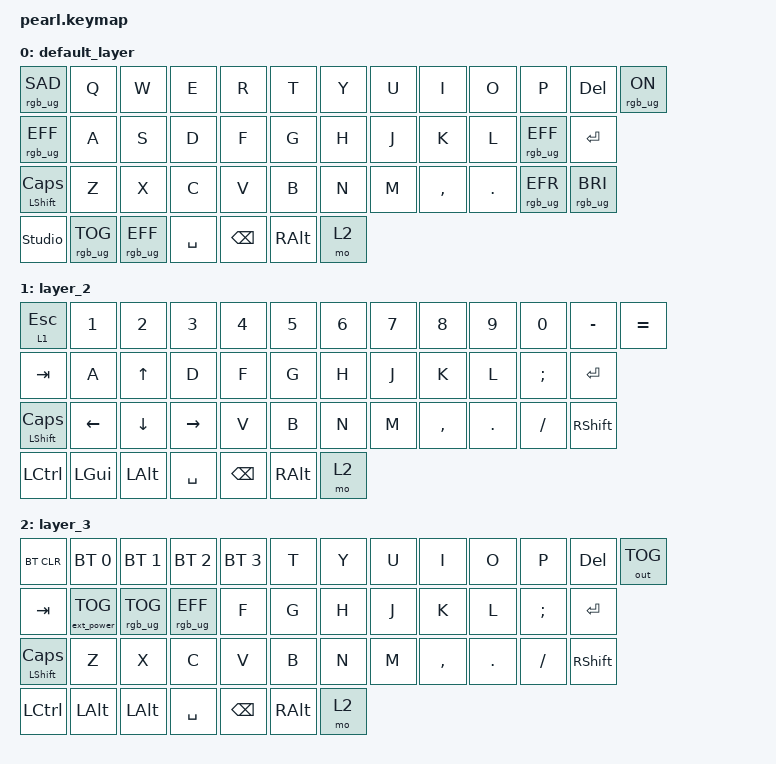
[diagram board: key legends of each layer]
/*
 * Copyright (c) 2020 The ZMK Contributors
 *
 * SPDX-License-Identifier: MIT
 */

#include <behaviors.dtsi>
#include <dt-bindings/zmk/bt.h>
#include <dt-bindings/zmk/ext_power.h>
#include <dt-bindings/zmk/keys.h>
#include <dt-bindings/zmk/outputs.h>
#include <dt-bindings/zmk/rgb.h>

/ {
    keymap {
        compatible = "zmk,keymap";

        default_layer {
            bindings = <
&rgb_ug RGB_SAD  &kp Q            &kp W            &kp E      &kp R     &kp T     &kp Y  &kp U  &kp I      &kp O    &kp P            &kp DEL          &rgb_ug RGB_ON
&rgb_ug RGB_EFF  &kp A            &kp S            &kp D      &kp F     &kp G     &kp H  &kp J  &kp K      &kp L    &rgb_ug RGB_EFF  &kp RET
&mt LSHIFT CLCK  &kp Z            &kp X            &kp C      &kp V     &kp B     &kp N  &kp M  &kp COMMA  &kp DOT  &rgb_ug RGB_EFR  &rgb_ug RGB_BRI
&studio_unlock   &rgb_ug RGB_TOG  &rgb_ug RGB_EFF  &kp SPACE  &kp BSPC  &kp RALT  &mo 2
            >;
        };

        layer_2 {
            bindings = <
&lt 1 ESC        &kp N1    &kp N2    &kp N3     &kp N4    &kp N5    &kp N6  &kp N7  &kp N8     &kp N9   &kp N0    &kp MINUS   &kp EQUAL
&kp TAB          &kp A     &kp UP    &kp D      &kp F     &kp G     &kp H   &kp J   &kp K      &kp L    &kp SEMI  &kp RET
&mt LSHIFT CLCK  &kp LEFT  &kp DOWN  &kp RIGHT  &kp V     &kp B     &kp N   &kp M   &kp COMMA  &kp DOT  &kp FSLH  &kp RSHIFT
&kp LCTRL        &kp LGUI  &kp LALT  &kp SPACE  &kp BSPC  &kp RALT  &mo 2
            >;
        };

        layer_3 {
            bindings = <
&bt BT_CLR       &bt BT_SEL 0       &bt BT_SEL 1     &bt BT_SEL 2     &bt BT_SEL 3  &kp T     &kp Y  &kp U  &kp I      &kp O    &kp P     &kp DEL     &out OUT_TOG
&kp TAB          &ext_power EP_TOG  &rgb_ug RGB_TOG  &rgb_ug RGB_EFF  &kp F         &kp G     &kp H  &kp J  &kp K      &kp L    &kp SEMI  &kp RET
&mt LSHIFT CLCK  &kp Z              &kp X            &kp C            &kp V         &kp B     &kp N  &kp M  &kp COMMA  &kp DOT  &kp FSLH  &kp RSHIFT
&kp LCTRL        &kp LALT           &kp LALT         &kp SPACE        &kp BSPC      &kp RALT  &mo 2
            >;
        };
    };
};
